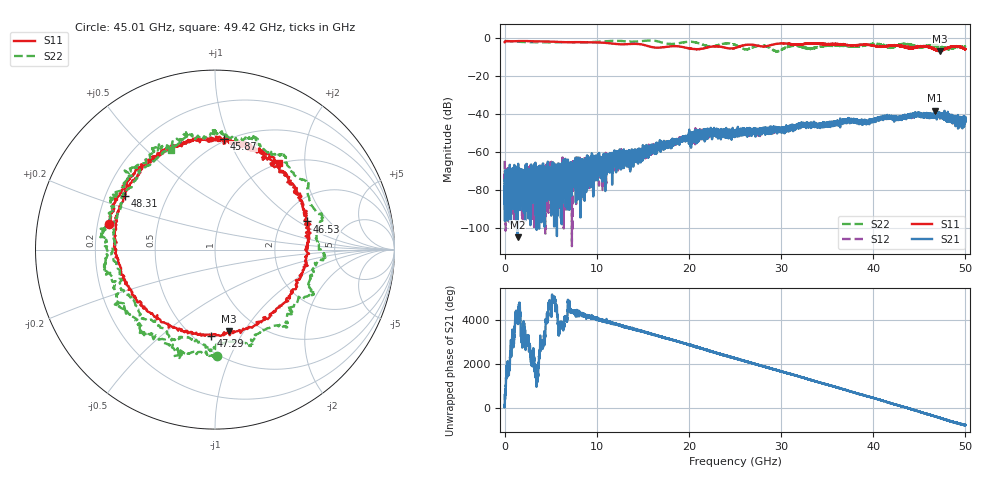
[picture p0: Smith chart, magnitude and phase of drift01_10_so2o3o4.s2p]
!Created with skrf (http://scikit-rf.org).
# Hz S RI R 50.0
!freq ReS11 ImS11 ReS21 ImS21 ReS12 ImS12 ReS22 ImS22
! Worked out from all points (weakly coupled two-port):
!   10001 points, 300 kHz to 50 GHz, reference 50 ohm
!   highest |S21| = -38.16 dB at 46.73 GHz (marker M1); lowest = -105.2 dB at 1.4 GHz (marker M2)
!   lowest |S11| = -6.7 dB at 47.22 GHz (marker M3), VSWR 2.71, Z = 37.3 - j43 ohm
!   |S11| at or under -10 dB: nowhere
!   |S22| runs from -6.9 to -1.1 dB; largest |S21 - S12| = 0.0038
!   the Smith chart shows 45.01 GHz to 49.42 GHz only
!   S11 on the Smith chart (normalised r, x): 45.01 GHz: 0.25, +0.11; 45.87 GHz: 0.48, +0.97; 46.53 GHz: 2.73, +1.20; 47.29 GHz: 0.60, -0.75; 48.31 GHz: 0.28, +0.26; 49.42 GHz: 0.99, +1.48
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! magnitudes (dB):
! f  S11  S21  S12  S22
! 300 kHz  -2.0  -74.7  -64.7  -1.3
! 260.3 MHz  -1.4  -86.8  -86.8  -1.4
! 1.4 GHz  -1.4  -105.2  -74.9  -1.7
! 5.56 GHz  -1.8  -76.2  -69.8  -2.0
! 8.335 GHz  -2.0  -65.1  -70.3  -2.1
! 16.67 GHz  -4.9  -56.6  -56.6  -1.6
! 21.38 GHz  -5.5  -51.3  -50.2  -3.1
! 25 GHz  -5.0  -49.8  -50.0  -3.4
! 28.09 GHz  -4.3  -49.6  -49.6  -3.8
! 29.52 GHz  -2.9  -48.6  -47.4  -6.7
! 31.27 GHz  -3.1  -46.9  -47.6  -4.0
! 33.34 GHz  -2.6  -45.2  -45.6  -5.3
! 41.67 GHz  -3.9  -41.2  -41.7  -4.5
! 45.01 GHz  -4.3  -39.8  -40.2  -4.5
! 45.87 GHz  -4.1  -41.4  -41.0  -4.3
! 46.53 GHz  -5.4  -41.3  -39.8  -4.2
! 46.73 GHz  -5.9  -38.2  -41.0  -4.1
! 47.22 GHz  -6.7  -40.6  -40.6  -4.6
! 47.29 GHz  -6.3  -41.9  -40.5  -4.0
! 48.31 GHz  -4.7  -40.3  -41.9  -5.2
! 49.42 GHz  -4.5  -41.4  -42.7  -4.3
! 50 GHz  -5.7  -41.7  -42.2  -4.3
